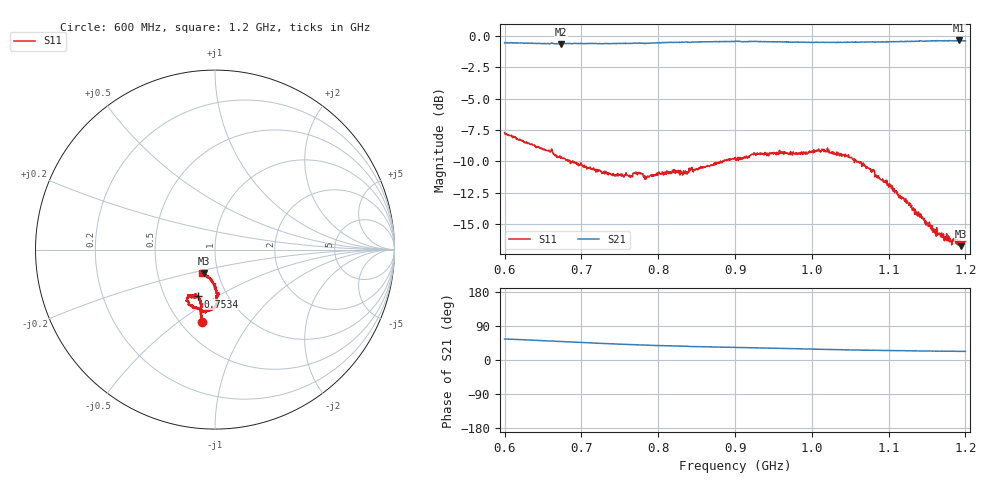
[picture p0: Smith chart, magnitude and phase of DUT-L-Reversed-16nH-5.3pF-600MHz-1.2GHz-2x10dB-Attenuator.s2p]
# HZ S RI R 50
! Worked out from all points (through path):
!   1010 points, 600 MHz to 1.2 GHz, reference 50 ohm
!   highest |S21| = -0.34 dB at 1.192 GHz (marker M1); lowest = -0.6 dB at 673.7 MHz (marker M2)
!   lowest |S11| = -16.8 dB at 1.194 GHz (marker M3), VSWR 1.34, Z = 42.6 - j11.4 ohm
!   |S11| at or under -10 dB: 685.2436 MHz to 688.4009 MHz (3.157 MHz wide, 0.46 % of centre); 689.4 MHz to 881.1 MHz (191.6 MHz wide, 24.4 % of centre); 1.06 GHz to end of sweep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
!   S12 and S22 are empty: the file has one direction only
!   S11 on the Smith chart (normalised r, x): 600 MHz: 0.63, -0.62; 753.4 MHz: 0.73, -0.41; 1.2 GHz: 0.83, -0.23
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6e8  -0.0716 -0.4058  0.5364 0.7716  0 0  0 0
6.737364e8  -0.0782 -0.3179  0.6139 0.7004  0 0  0 0
7.004955e8  -0.0788 -0.2945  0.646 0.6769  0 0  0 0
7.534192e8  -0.0964 -0.2609  0.7016 0.6188  0 0  0 0
7.766105e8  -0.1109 -0.2596  0.7205 0.6  0 0  0 0
7.849355e8  -0.1096 -0.2503  0.7244 0.5939  0 0  0 0
8.003964e8  -0.1154 -0.2604  0.7417 0.5796  0 0  0 0
8.295341e8  -0.1149 -0.2621  0.7595 0.5628  0 0  0 0
8.366699e8  -0.1199 -0.2558  0.7628 0.5608  0 0  0 0
8.5332e8  -0.1446 -0.2575  0.7739 0.5476  0 0  0 0
9.002972e8  -0.1543 -0.2893  0.7972 0.5243  0 0  0 0
9.234885e8  -0.1426 -0.3059  0.8037 0.51  0 0  0 0
1.000198e9  -0.0799 -0.3389  0.8282 0.4556  0 0  0 0
1.019227e9  -0.0529 -0.3422  0.8347 0.4435  0 0  0 0
1.048959e9  -0.00991 -0.3275  0.8463 0.4223  0 0  0 0
1.065609e9  0.0123 -0.3104  0.8515 0.4141  0 0  0 0
1.100099e9  0.0117 -0.2494  0.8596 0.4022  0 0  0 0
1.104856e9  0.0217 -0.2516  0.8631 0.3994  0 0  0 0
1.158969e9  -0.0203 -0.1692  0.8796 0.3806  0 0  0 0
1.191675e9  -0.061 -0.1401  0.8858 0.3732  0 0  0 0
1.194053e9  -0.0633 -0.1307  0.8829 0.372  0 0  0 0
1.2e9  -0.0738 -0.1328  0.8832 0.3719  0 0  0 0
